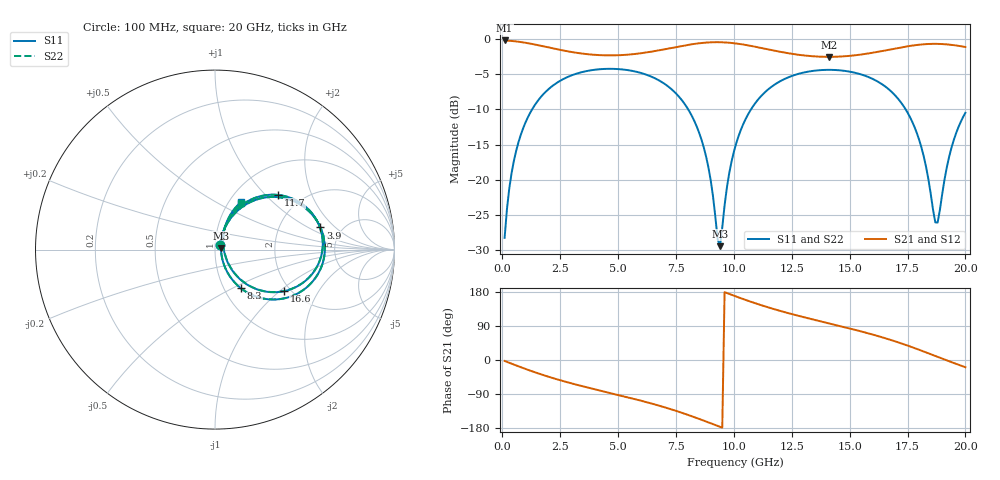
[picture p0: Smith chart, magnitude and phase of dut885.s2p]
! Touchstone file exported from HFSS 2026.1.0
!  File:  C:/ffzhzh/LocalFiles/Ansys_Project_Files/temp_train_TSV_RDL_885_1783274353_39728.aedt
!  Generated:  02:12:50 AM Jul  6, 2026
!  Design:  TSV_RDL
!  Project:  temp_train_TSV_RDL_885_1783274353_39728
! Variables:
!  h_bsmrdl = 5.07um
!  h_ox = 20um
!  h_rdl = 5um
!  h_sub = 59.14um
!  h_tmrdl = 4.83um
!  h_tsv = 59.14um
!  h_via = 3um
!  l_bsmrdl = 913.74um
!  l_sub = 6589.8um
!  l_tmrdl = 836.3um
!  m_sub = 200um
!  pitch = 52.86um
!  r_tsv = 11.67um
!  s_tmrdl = 10um
!  w_bsmrdl = 20.14um
!  w_sub = 500um
!  w_tmrdl = 14.32um
!  x_tsv_center1 = 843.46um
!  x_tsv_center2 = 1777.34um
!  x_tsv_center3 = 2627.96um
!  x_tsv_center4 = 3561.84um
!  x_tsv_center5 = 4412.46um
!  x_tsv_center6 = 5346.34um
# GHz S MA R 50.000000
! Terminal data exported
! Port[1] = TM_RDL1_1_T1
! Port[2] = TM_RDL5_1_T1
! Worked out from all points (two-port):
!   200 points, 100 MHz to 20 GHz, reference 50 ohm
!   highest |S21| = -0.24 dB at 100 MHz (marker M1); lowest = -2.6 dB at 14.1 GHz (marker M2)
!   |S21| within 3 dB of the highest: start of sweep to end of sweep
!   lowest |S11| = -29.4 dB at 9.4 GHz (marker M3), VSWR 1.07, Z = 53.4 + j0.831 ohm
!   |S11| at or under -10 dB: start of sweep to 1.29 GHz; 8.025 GHz to 10.74 GHz (2.719 GHz wide, 29 % of centre); 17.42 GHz to end of sweep
!   |S22| runs from -29.4 to -4.3 dB; largest |S21 - S12| = 1.6e-14
!   S11 on the Smith chart (normalised r, x): 100 MHz: 1.06, +0.06; 3.9 GHz: 3.45, +1.33; 8.3 GHz: 1.20, -0.56; 11.7 GHz: 1.53, +1.19; 16.6 GHz: 1.86, -1.08; 20 GHz: 1.13, +0.65
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0.1  0.03881 43.6  0.9727 -2.5  0.9727 -2.5  0.03881 43.6
! Gamma 0 0 0 0
! Port Impedance 50 0 50 0
0.5  0.1363 65.4  0.9615 -12.1  0.9615 -12.1  0.1363 65.4
1.1  0.2766 57.9  0.9309 -25.8  0.9309 -25.8  0.2766 57.9
2.2  0.4676 38.4  0.8539 -48.0  0.8539 -48.0  0.4676 38.4
3.5  0.5835 17.7  0.7833 -69.8  0.7833 -69.8  0.5835 17.7
3.9  0.6003 11.9  0.7713 -75.9  0.7713 -75.9  0.6003 11.9
5.4  0.6001 -9.4  0.771 -98.2  0.771 -98.2  0.6001 -9.4
6.8  0.5035 -30.7  0.83 -121.0  0.83 -121.0  0.5035 -30.7
8.3  0.26 -56.1  0.92 -150.9  0.92 -150.9  0.26 -56.1
8.9  0.1231 -61.0  0.9417 -164.6  0.9417 -164.6  0.1231 -61.1
9.4  0.03389 13.3  0.9451 -176.3  0.9451 -176.3  0.03377 13.2
9.7  0.08821 63.0  0.9401 176.7  0.9401 176.7  0.08813 63.1
10.1  0.1809 65.7  0.9258 167.5  0.9258 167.5  0.1808 65.8
11.7  0.4661 40.7  0.8267 134.9  0.8267 134.9  0.466 40.8
13.4  0.5914 15.3  0.7519 107.2  0.7519 107.2  0.5914 15.4
14.1  0.6022 5.7  0.7445 96.8  0.7445 96.8  0.6021 5.7
16.6  0.4507 -30.9  0.8302 56.3  0.8302 56.3  0.4507 -30.7
16.7  0.4369 -32.5  0.8363 54.4  0.8363 54.4  0.4369 -32.3
17.9  0.2153 -49.9  0.9035 29.3  0.9035 29.3  0.2155 -49.5
18.7  0.04999 -5.9  0.9204 10.7  0.9204 10.7  0.05128 -5.4
19.4  0.1692 67.0  0.9051 -5.7  0.9051 -5.7  0.1697 66.6
20  0.2988 61.5  0.874 -19.0  0.874 -19.0  0.2991 61.3
